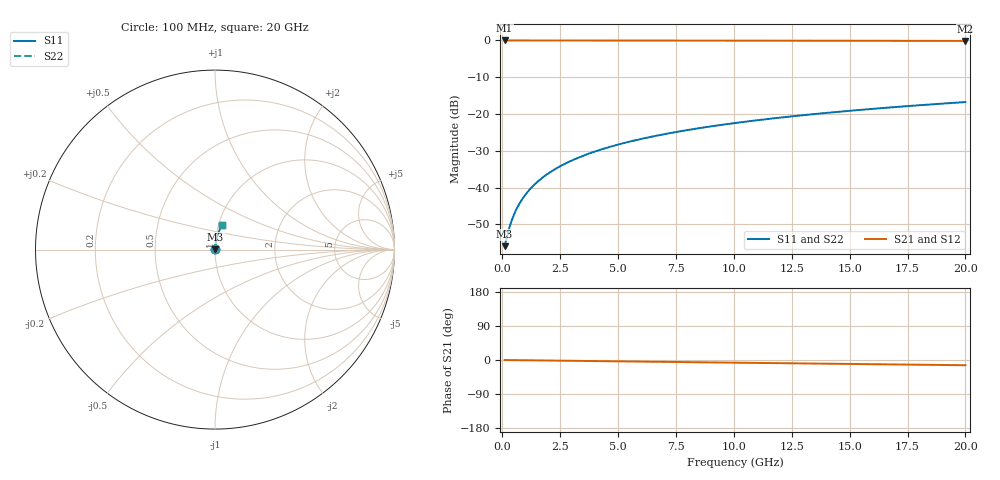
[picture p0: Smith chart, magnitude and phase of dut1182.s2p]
! Touchstone file exported from HFSS 2026.1.0
!  File:  C:/ffzhzh/LocalFiles/Ansys_Project_Files/temp_train_BSMRDL_1182_1783176148_18472.aedt
!  Generated:  10:43:38 PM Jul  4, 2026
!  Design:  BSMRDL
!  Project:  temp_train_BSMRDL_1182_1783176148_18472
! Variables:
!  h_bsmrdl = 4.9um
!  h_ox = 20um
!  h_rdl = 5um
!  h_sub = 80um
!  h_tmrdl = 5um
!  h_tsv = 80um
!  h_via = 3um
!  l_bsmrdl = 180.92um
!  l_sub = 580.92um
!  l_tmrdl = 200um
!  m_sub = 200um
!  pitch = 29.74um
!  r_tsv = 6um
!  s_tmrdl = 10um
!  w_bsmrdl = 10.28um
!  w_sub = 500um
!  w_tmrdl = 12um
!  x_tsv_center1 = 206um
!  x_tsv_center2 = 397.2um
!  x_tsv_center3 = 609.2um
!  x_tsv_center4 = 800.4um
!  x_tsv_center5 = 1012.4um
!  x_tsv_center6 = 1203.6um
# GHz S MA R 50.000000
! Terminal data exported
! Port[1] = BSM_RDL1_1_T1
! Port[2] = BSM_RDL1_1_T2
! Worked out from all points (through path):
!   200 points, 100 MHz to 20 GHz, reference 50 ohm
!   highest |S21| = -0.01 dB at 100 MHz (marker M1); lowest = -0.1 dB at 20 GHz (marker M2)
!   group delay of S21, straight-line fit = 1.91 ps
!   lowest |S11| = -55.9 dB at 100 MHz (marker M3), VSWR 1.00, Z = 50.1 + j0.0822 ohm
!   |S11| at or under -10 dB: start of sweep to end of sweep
!   |S22| runs from -55.9 to -16.8 dB; largest |S21 - S12| = 2.1e-15
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0.1  0.001597 30.9  0.9986 -0.1  0.9986 -0.1  0.001597 30.9
! Gamma 0 0 0 0
! Port Impedance 50 0 50 0
0.2  0.002147 49.3  0.9986 -0.1  0.9986 -0.1  0.002147 49.3
0.3  0.002815 59.3  0.9986 -0.2  0.9986 -0.2  0.002815 59.3
0.4  0.003526 65.3  0.9985 -0.3  0.9985 -0.3  0.003526 65.3
0.5  0.004255 69.2  0.9985 -0.4  0.9985 -0.4  0.004255 69.2
0.6  0.004994 72.0  0.9985 -0.4  0.9985 -0.4  0.004994 72.0
0.8  0.006492 75.7  0.9984 -0.6  0.9984 -0.6  0.006492 75.7
1  0.008006 77.9  0.9984 -0.7  0.9984 -0.7  0.008006 77.9
1.2  0.00953 79.4  0.9984 -0.9  0.9984 -0.9  0.00953 79.4
1.4  0.01106 80.5  0.9983 -1.0  0.9983 -1.0  0.01106 80.5
1.7  0.01336 81.5  0.9982 -1.2  0.9982 -1.2  0.01336 81.5
2.2  0.01719 82.5  0.9981 -1.6  0.9981 -1.6  0.01719 82.5
2.8  0.02179 82.9  0.9978 -2.0  0.9978 -2.0  0.02179 82.9
3.5  0.02711 83.0  0.9975 -2.5  0.9975 -2.5  0.02711 83.0
4.2  0.0324 82.9  0.9972 -3.0  0.9972 -3.0  0.0324 82.9
5  0.0384 82.6  0.9967 -3.6  0.9967 -3.6  0.0384 82.6
6.8  0.05174 81.8  0.9956 -4.8  0.9956 -4.8  0.05174 81.8
8.3  0.0627 81.0  0.9946 -5.9  0.9946 -5.9  0.0627 81.0
10.1  0.07571 79.9  0.9932 -7.1  0.9932 -7.1  0.07571 79.9
13.4  0.09924 78.0  0.9905 -9.4  0.9905 -9.4  0.09924 78.0
16.7  0.1224 76.0  0.9873 -11.6  0.9873 -11.6  0.1224 76.0
20  0.1452 74.0  0.9838 -13.8  0.9838 -13.8  0.1452 74.0
